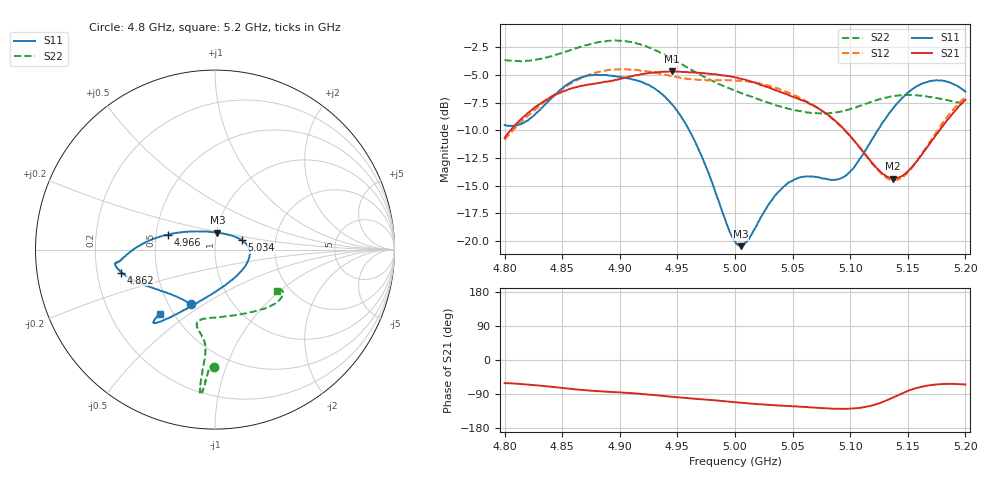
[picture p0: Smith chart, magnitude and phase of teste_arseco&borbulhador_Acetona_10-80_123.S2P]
! Network Analyzer HP8722D
! Hewlett-Packard
! Data name: Linha & Wilkinson
! Saver's name: Rodrigo Anjos
! Comments: Teste da utilização de aquisição
! continua pelo VNA HP8722D
! Time and date: 17/4/2025 15:23
!  Frequency  S11  S21  S12  S22
# HZ  S  MA R 50
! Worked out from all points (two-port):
!   401 points, 4.8 GHz to 5.2 GHz, reference 50 ohm
!   highest |S21| = -4.69 dB at 4.945 GHz (marker M1); lowest = -14.4 dB at 5.137 GHz (marker M2)
!   |S21| within 3 dB of the highest: 4.83 GHz to 5.066 GHz (236.4 MHz wide, 4.78 % of centre); 5.195728 GHz to end of sweep
!   lowest |S11| = -20.5 dB at 5.005 GHz (marker M3), VSWR 1.21, Z = 50.5 + j9.56 ohm
!   |S11| at or under -10 dB: 4.96 GHz to 5.124 GHz (163.6 MHz wide, 3.24 % of centre)
!   |S22| runs from -8.5 to -1.9 dB; largest |S21 - S12| = 0.87
!   S11 on the Smith chart (normalised r, x): 4.8 GHz: 0.64, -0.44; 4.862 GHz: 0.31, -0.11; 4.966 GHz: 0.58, +0.10; 5.034 GHz: 1.34, +0.14; 5.2 GHz: 0.42, -0.39
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4.8e9  0.3341 -113.8  0.2924 -61.1  0.2865 -175.2  0.6559 -90.4
4.819e9  0.348 -133.7  0.3735 -64.4  0.3628 -174.0  0.6511 -91.9
4.862e9  0.5369 -166.2  0.4956 -77.5  0.5306 -177.3  0.7429 -94.1
4.867e9  0.5487 -168.2  0.5025 -79.1  0.5462 -178.3  0.7563 -94.3
4.899e9  0.5512 -172.5  0.5366 -85.4  0.5948 175.2  0.8004 -95.7
4.934e9  0.4728 -178.5  0.5782 -93.8  0.5712 171.5  0.7148 -96.1
4.945e9  0.4159 176.4  0.5829 -97.0  0.556 171.7  0.667 -95.8
4.966e9  0.2763 162.5  0.5759 -102.3  0.5357 173.5  0.5768 -95.2
5e9  0.09969 99.9  0.5478 -111.5  0.5312 175.9  0.4763 -99.5
5.005e9  0.0948 81.8  0.5406 -112.7  0.528 175.7  0.4655 -100.6
5.012e9  0.1019 59.0  0.5283 -114.5  0.5229 175.6  0.453 -102.0
5.034e9  0.1585 19.3  0.4821 -119.5  0.495 174.5  0.4121 -103.6
5.049e9  0.1859 4.2  0.449 -121.8  0.4614 173.8  0.3922 -99.8
5.067e9  0.1955 -15.0  0.4126 -125.2  0.4134 173.3  0.3792 -90.4
5.085e9  0.1888 -43.2  0.355 -128.7  0.3547 173.5  0.3797 -76.7
5.097e9  0.1986 -67.6  0.3093 -128.8  0.3096 174.5  0.3902 -66.8
5.134e9  0.378 -117.1  0.1936 -103.4  0.1899 -156.2  0.4475 -42.9
5.137e9  0.3957 -118.8  0.1914 -99.3  0.1886 -151.5  0.4508 -41.7
5.15e9  0.4665 -124.7  0.2062 -81.9  0.2036 -131.5  0.4562 -36.8
5.17e9  0.528 -129.3  0.2792 -66.2  0.2851 -112.4  0.447 -32.1
5.184e9  0.5245 -130.5  0.3505 -63.2  0.3622 -107.5  0.4328 -31.2
5.2e9  0.4721 -130.9  0.4339 -64.7  0.447 -106.9  0.4157 -33.6
